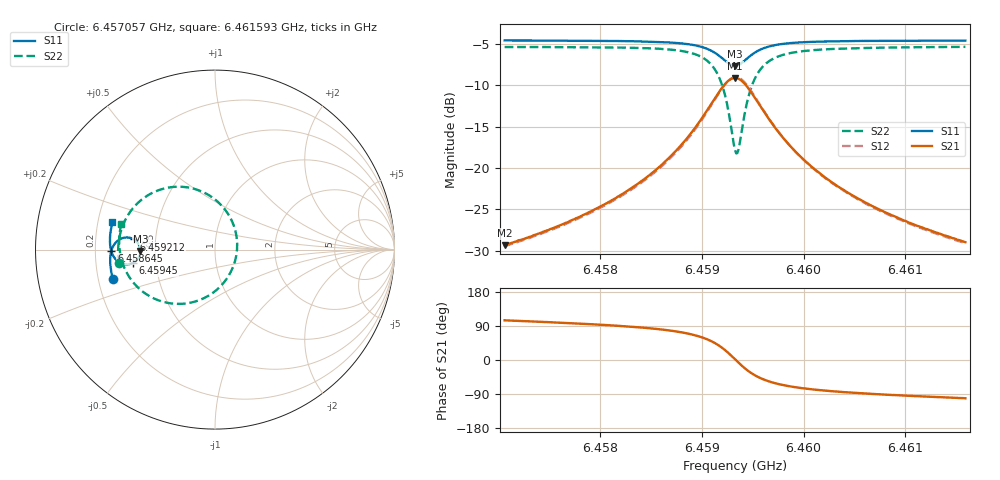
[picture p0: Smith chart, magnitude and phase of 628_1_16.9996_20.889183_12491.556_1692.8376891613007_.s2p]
#  HZ  S  RI  R  50.00
! Rohde & Schwarz Vector Network Analyzer
! Rohde-Schwarz,ZNB20-2Port,1311601062101988,3.16
! Created: UTC 3/20/2024, 11:20:13 PM
! freq[Hz]  re:S11  im:S11  re:S21  im:S21  re:S12  im:S12  re:S22  im:S22
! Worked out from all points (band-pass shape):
!   401 points, 6.457057 GHz to 6.461593 GHz, reference 50 ohm
!   highest |S21| = -9.08 dB at 6.459325 GHz (marker M1); lowest = -29.3 dB at 6.457057 GHz (marker M2)
!   |S21| within 3 dB of the highest: 6.459099 GHz to 6.459552 GHz (452.9 kHz wide, 0.00701 % of centre)
!   lowest |S11| = -7.6 dB at 6.459325 GHz (marker M3), VSWR 2.42, Z = 20.7 - j0.376 ohm
!   |S11| at or under -10 dB: nowhere
!   |S22| runs from -18.2 to -5.3 dB; largest |S21 - S12| = 0.014
!   S11 on the Smith chart (normalised r, x): 6.457057 GHz: 0.26, -0.13; 6.458645 GHz: 0.27, -0.01; 6.459212 GHz: 0.38, +0.05; 6.45945 GHz: 0.37, -0.07; 6.461593 GHz: 0.26, +0.12
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6.4570572e9  -0.5685 -0.166  -0.00868 0.0331  -0.00691 0.033  -0.5349 -0.0772
6.4578169e9  -0.5816 -0.0993  -0.00513 0.0513  -0.0026 0.0507  -0.539 0.013
6.4582364e9  -0.584 -0.0569  0.000963 0.071  0.0043 0.0695  -0.5298 0.0804
6.4585766e9  -0.5797 -0.0159  0.0153 0.1001  0.0193 0.0973  -0.5034 0.1584
6.4586446e9  -0.5774 -0.00633  0.0208 0.1086  0.0249 0.1052  -0.4929 0.1784
6.4588374e9  -0.5644 0.0242  0.0481 0.1398  0.0521 0.1347  -0.4417 0.248
6.4589848e9  -0.5413 0.0502  0.0941 0.1704  0.0973 0.1636  -0.3564 0.3125
6.4591208e9  -0.4969 0.0675  0.1826 0.1867  0.1835 0.1793  -0.1944 0.3503
6.4592115e9  -0.4517 0.0568  0.2738 0.1545  0.2739 0.1487  -0.0254 0.2979
6.4592796e9  -0.4222 0.0242  0.3349 0.0811  0.3371 0.0759  0.0915 0.1653
6.4593249e9  -0.4153 -0.00752  0.3512 0.012  0.355 0.0051  0.1235 0.0355
6.4593589e9  -0.4194 -0.0315  0.3451 -0.0414  0.3491 -0.0507  0.1112 -0.066
6.4594043e9  -0.4354 -0.0581  0.3156 -0.102  0.3179 -0.1143  0.0513 -0.1812
6.4594497e9  -0.4579 -0.0746  0.2724 -0.1437  0.2717 -0.1573  -0.0362 -0.2569
6.4595404e9  -0.502 -0.0815  0.186 -0.1747  0.1796 -0.1866  -0.2089 -0.3024
6.4596084e9  -0.5266 -0.0742  0.1367 -0.1724  0.1286 -0.1815  -0.304 -0.2865
6.4596878e9  -0.5464 -0.061  0.0965 -0.1599  0.088 -0.1662  -0.3793 -0.2506
6.4598465e9  -0.5681 -0.0331  0.0514 -0.1311  0.0434 -0.1339  -0.4605 -0.1765
6.4600846e9  -0.5809 0.00259  0.0221 -0.0989  0.016 -0.0995  -0.5085 -0.0928
6.4604248e9  -0.5853 0.0434  0.00585 -0.0715  0.00175 -0.071  -0.5297 -0.0128
6.4608443e9  -0.5834 0.0858  -0.00168 -0.0527  -0.00462 -0.0517  -0.5336 0.0557
6.4615926e9  -0.5713 0.1524  -0.00685 -0.035  -0.00853 -0.0341  -0.5219 0.1451
